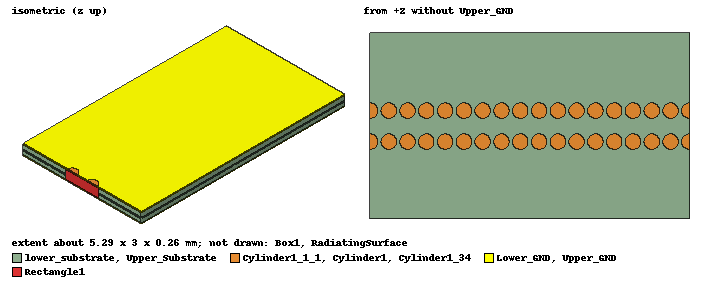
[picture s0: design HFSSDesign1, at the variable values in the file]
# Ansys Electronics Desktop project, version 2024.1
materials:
  vacuum: permittivity=1
  Custom_ADM_Material: permittivity=3.3 dielectric_loss_tangent=0.003 delta_H_freq=10GHz
  copper: permeability=0.999991 conductivity=58000000
  pec: conductivity=1e+30
  air: permittivity=1.0006 permeability=1.0000004

design HFSSDesign1 (HFSS, HFSS Terminal Network, model units mm)
options: Allow_Material_Override Calculate_Lossy_Dielectrics
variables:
  track_length = 10mm
  sub_thick = 100um
  track_width = 0.092mm
  copper_thick = 20um
  port_width = 1mm
  spacing = 0mm
  pitch = 0.303mm
  VIA_D = 0.25mm
  G_Spacing = 0.5mm
  VIA_space = 0.25mm
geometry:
  lower_substrate [Custom_ADM_Material] = box(corner=(-track_length/2, 1.5mm, 0mm), size=(track_length, -3mm, -sub_thick))
  Microstrip [copper] = rectangle(corner=(-track_length/2, -track_width/2, 0mm), x_size=track_length, y_size=track_width)
  Microstrip.thicken(copper_thick)
  Upper_Substrate [Custom_ADM_Material] = lower_substrate.duplicate_along_line(step=(0mm, 0mm, 0.12mm), total=2)
  Box1 [air] = box(corner=(track_length/2, 1.5mm, 0.02mm), size=(-track_length, -3mm, -0.02mm))
  Upper_GND [copper] = object_from(Upper_Substrate.face(1 of 6))
  Upper_GND.thicken(copper_thick)
  Lower_GND [copper] = object_from(lower_substrate.face(-z))
  Lower_GND.thicken(20um)
  Rectangle1 = rectangle(corner=(track_length/2, -4.5*track_width, 0.12mm), y_size=9*track_width, z_size=-0.22mm)
  Cylinder1 [copper] = cylinder(axis=Z, base_centre=(track_length/2, VIA_space, -copper_thick-sub_thick), radius=VIA_D/2, height=2*sub_thick+3*copper_thick)
  Cylinder1_1..Cylinder1_32 = Cylinder1.duplicate_along_line(step=(-pitch, 0mm, 0mm), total=34)  # copies kept: 1..32
  Cylinder1_1.unite(Cylinder1_2..Cylinder1_32)
  Cylinder1_34 [copper] = Cylinder1.duplicate_along_line(step=(0mm, -2*VIA_space, 0mm), total=2)
  Cylinder1_1_1 [copper] = Cylinder1_1.duplicate_along_line(step=(0mm, -2*VIA_space, 0mm), total=2)
  Box2 = box(corner=(5mm, -1.5mm, 0.14mm), size=(1.2252916mm, 3.0832747mm, -0.26mm))
  Box2_1 = Box2.copy()
  Cylinder1.subtract(Box2_1)
  Cylinder1_34.subtract(Box2)
  Cylinder1_1_1.unite(Cylinder1_1)
  Box4 = box(corner=(-0.151mm, 0.25mm, 0.14mm), size=(-5.9065031mm, -7.312622mm, -0.52138522mm))
  Box4.move(-2.7755576e-17mm, 3.156311mm, 0mm)
  Box4_1 = Box4.copy()
  Box1.subtract(Box4_1)
  Box4_2 = Box4.copy()
  Cylinder1.subtract(Box4_2)
  Box4_3 = Box4.copy()
  Cylinder1_1_1.subtract(Box4_3)
  Box4_6 = Box4.copy()
  Cylinder1_34.subtract(Box4_6)
  Box4_7 = Box4.copy()
  Lower_GND.subtract(Box4_7)
  Box4_8 = Box4.copy()
  lower_substrate.subtract(Box4_8)
  Box4_9 = Box4.copy()
  Microstrip.subtract(Box4_9)
  Box4_10 = Box4.copy()
  Rectangle1.subtract(Box4_10)
  Box4_12 = Box4.copy()
  Upper_GND.subtract(Box4_12)
  Upper_Substrate.subtract(Box4)
  RadiatingSurface [vacuum] = region(absolute_offset: +X=0mm, -X=0mm, +Y=10mm, -Y=10mm, +Z=10mm, -Z=10mm)
  Rectangle1_2 = Rectangle1.duplicate_along_line(step=(-5.151mm, 0mm, 0mm), total=2)
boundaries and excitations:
  Open1: Radiation Objects=RadiatingSurface
  Microstrip_T1: Terminal port=1 Faces=Microstrip.face(at (5, 0, 0.01)) TerminalResistance=50ohm
  Microstrip_T2: Terminal port=2 Faces=Microstrip.face(at (-0.151, 0, 0.01)) TerminalResistance=50ohm
  1: Wave Port Faces=Rectangle1.face(at (5, 0, 0.01)) WavePortType=Terminal NumModes=1
  2: Wave Port Faces=Rectangle1_2.face WavePortType=Terminal NumModes=1
  reference conductors: Cylinder1_1_1, Lower_GND, Upper_GND
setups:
  Setup1: HfssDriven Frequency=10GHz MaxDeltaS=0.02 MaximumPasses=20 MinimumPasses=1 MinimumConvergedPasses=1 PercentRefinement=30 BasisOrder=1 PortAccuracy=2 DrivenSolverType="Direct Solver"
    sweep Sweep: 0GHz to 50GHz, 401 points; Type=Interpolating InterpTolerance=0.5 InterpMaxSolns=250 MinSolvedFreq=0.01GHz PassivityErrorTolerance=0.0001
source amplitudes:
  1:1: 1V 0deg
  2:1: 0V 0deg
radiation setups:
  3D: Infinite Sphere Theta=0deg..180deg step 2deg Phi=-180deg..180deg step 2deg
  Elevation: Infinite Sphere Theta=-180deg..180deg step 1deg Phi=0deg..90deg step 90deg
  Azimuth: Infinite Sphere Theta=90deg..90deg step 0deg Phi=-180deg..180deg step 1deg
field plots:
  Mag_E1: E Field on Setup1 : LastAdaptive at Freq=10GHz Phase=0deg
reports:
  Terminal S Parameter Plot 1: dB(St(Microstrip_T1,Microstrip_T1)) vs Freq on Setup1 : Sweep
  Terminal S Parameter Plot 2: dB(St(Microstrip_T2,Microstrip_T1)) vs Freq on Setup1 : Sweep
